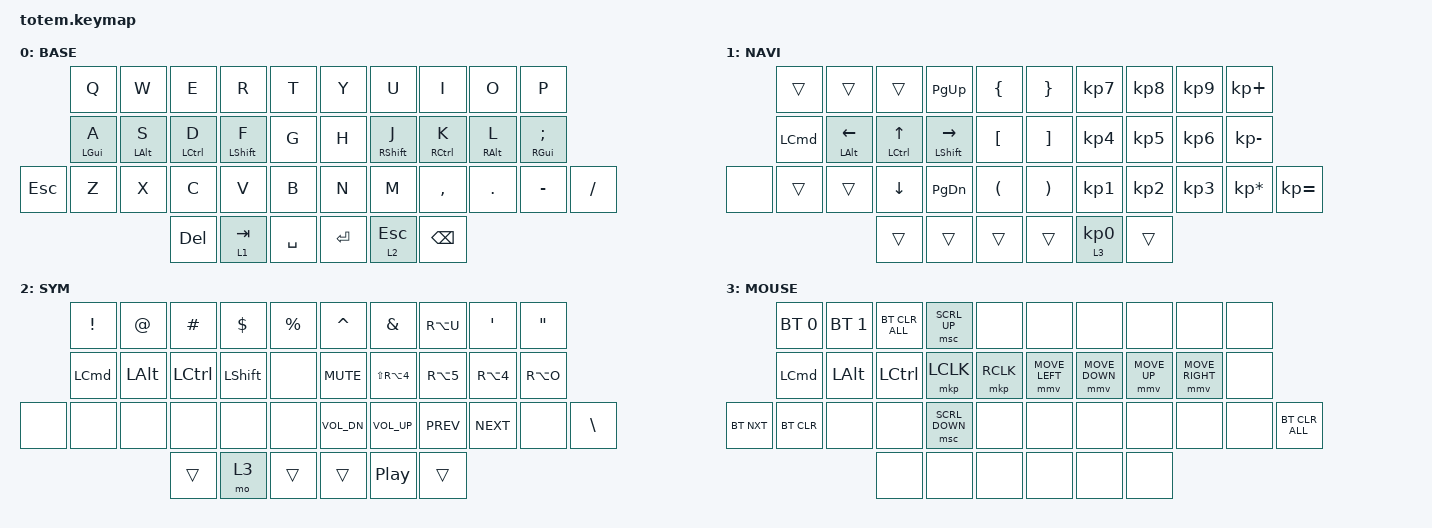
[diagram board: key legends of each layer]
//
//                                                        ▀▀▀▀▀     ▀▀▀▀▀          ▀▀█▀▀
//                                                        ▄▀▀▀▄  ▄  ▄▀▀▀▄  ▄  ▄▀▀▀▄  █  ▄▀▀▀▄
//                                                        █   █  █  █   █  █  █   █  █  █   █
//                                                         ▀▀▀   █   ▀▀▀   █   ▀▀▀   ▀   ▀▀▀
//                                                               █      ▄▄▄█▄▄▄    █   █  
//                                                               ▀      █  █  █     █▄█
//                                                             ▀▀▀▀▀    █  █  █      ▀
//                                                                      ▀  ▀  ▀
//
// ▄▄▄▄▄▄▄▄▄▄▄▄▄▄▄▄▄▄▄▄▄▄▄▄▄▄▄▄▄▄▄▄▄▄▄▄▄▄▄▄▄▄▄▄▄▄▄▄▄▄▄▄▄▄▄▄▄▄▄▄▄▄▄▄▄▄▄▄▄▄▄▄▄▄▄▄▄▄▄▄▄▄▄▄▄▄▄▄▄▄▄▄▄▄▄▄▄▄▄▄▄▄▄▄▄▄▄▄▄▄▄▄▄▄▄▄▄▄▄▄▄▄▄▄▄▄▄▄▄▄▄▄▄▄▄▄▄▄▄▄▄▄▄▄▄▄▄▄▄

#include <behaviors.dtsi>
#include <dt-bindings/zmk/bt.h>
#include <dt-bindings/zmk/keys.h>
#include <dt-bindings/zmk/pointing.h>

#define BASE 0
#define NAV  1
#define SYM  2
#define ADJ  3
#define TVP1 4
#define TVP2 5

&mt {
    quick-tap-ms = <100>;
    global-quick-tap;
    flavor = "tap-preferred";
    tapping-term-ms = <170>;
};

/ {
    combos { compatible = "zmk,combos"; };

    macros {
        gif: gif {
            label = "giphy";
            compatible = "zmk,behavior-macro";
            #binding-cells = <0>;
            bindings =
                <&macro_press>,
                <&kp LSHFT>,
                <&macro_tap>,
                <&kp N2>,
                <&macro_release>,
                <&kp LSHFT>,
                <&macro_tap>,
                <&kp G &kp I &kp F>;
        };
    };

    keymap {
        compatible = "zmk,keymap";

        // ▄▄▄▄▄▄▄▄▄▄▄▄▄▄▄▄▄▄▄▄▄▄▄▄▄▄▄▄▄▄▄▄▄▄▄▄▄▄▄▄▄▄▄▄▄▄▄▄▄▄▄▄▄▄▄▄▄▄▄▄▄▄▄▄▄▄▄▄▄▄▄▄▄▄▄▄▄▄▄▄▄▄▄▄▄▄▄▄▄▄▄▄▄▄▄▄▄▄▄▄▄▄▄▄▄▄▄▄▄▄▄▄▄▄▄▄▄▄▄▄▄▄▄▄▄▄▄▄▄▄▄▄▄▄▄▄▄▄▄▄▄▄▄▄▄▄▄▄▄

        base_layer {
            // ┏━━━━━━━━━━━━━━━━━━━━━━━━━━━━━━━━━━━━━━━┓

            label = "BASE";

            // ┗━━━━━━━━━━━━━━━━━━━━━━━━━━━━━━━━━━━━━━━┛
            //             ┏━━━━━━━━━━━┳━━━━━━━━━━━┳━━━━━━━━━━━┳━━━━━━━━━━━┳━━━━━━━━━━━┓   ┏━━━━━━━━━━━┳━━━━━━━━━━━┳━━━━━━━━━━━┳━━━━━━━━━━━┳━━━━━━━━━━━┓
            //             ┃     Q     ┃     W     ┃     F     ┃     P     ┃     G     ┃   ┃     J     ┃     L     ┃     U     ┃     Y     ┃     ;     ┃
            //             ┣━━━━━━━━━━━╋━━━━━━━━━━━╋━━━━━━━━━━━╋━━━━━━━━━━━╋━━━━━━━━━━━┫   ┣━━━━━━━━━━━╋━━━━━━━━━━━╋━━━━━━━━━━━╋━━━━━━━━━━━╋━━━━━━━━━━━┫
            //             ┃     A     ┃     R     ┃     S     ┃     T     ┃     D     ┃   ┃     H     ┃     N     ┃     E     ┃     I     ┃     O     ┃
            // ┏━━━━━━━━━━━╋━━━━━━━━━━━╋━━━━━━━━━━━╋━━━━━━━━━━━╋━━━━━━━━━━━╋━━━━━━━━━━━┫   ┣━━━━━━━━━━━╋━━━━━━━━━━━╋━━━━━━━━━━━╋━━━━━━━━━━━╋━━━━━━━━━━━╋━━━━━━━━━━━┓
            // ┃     Q     ┃     Z     ┃     X     ┃     C     ┃     V     ┃     B     ┃   ┃     K     ┃     M     ┃     ,     ┃     .     ┃     /     ┃     \     ┃
            // ┗━━━━━━━━━━━┻━━━━━━━━━━━┻━━━━━━━━━━━╋━━━━━━━━━━━╋━━━━━━━━━━━╋━━━━━━━━━━━┫   ┣━━━━━━━━━━━╋━━━━━━━━━━━╋━━━━━━━━━━━╋━━━━━━━━━━━┻━━━━━━━━━━━┻━━━━━━━━━━━┛
            //                                     ┃    DEL    ┃    TAB    ┃    SPC    ┃   ┃   ENTER   ┃           ┃   BSPC    ┃
            //                                     ┗━━━━━━━━━━━┻━━━━━━━━━━━┻━━━━━━━━━━━┛   ┗━━━━━━━━━━━┻━━━━━━━━━━━┻━━━━━━━━━━━┛

            bindings = <
         &kp Q       &kp W       &kp E        &kp R        &kp T        &kp Y    &kp U        &kp I        &kp O       &kp P
         &mt LGUI A  &mt LALT S  &mt LCTRL D  &mt LSHFT F  &kp G        &kp H    &mt RSHFT J  &mt RCTRL K  &mt RALT L  &mt RGUI SEMI
&kp ESC  &kp Z       &kp X       &kp C        &kp V        &kp B        &kp N    &kp M        &kp COMMA    &kp DOT     &kp MINUS      &kp SLASH
                                 &kp DEL      &lt 1 TAB    &kp SPACE    &kp RET  &lt 2 ESC    &kp BSPC
            >;
        };

        // ▄▄▄▄▄▄▄▄▄▄▄▄▄▄▄▄▄▄▄▄▄▄▄▄▄▄▄▄▄▄▄▄▄▄▄▄▄▄▄▄▄▄▄▄▄▄▄▄▄▄▄▄▄▄▄▄▄▄▄▄▄▄▄▄▄▄▄▄▄▄▄▄▄▄▄▄▄▄▄▄▄▄▄▄▄▄▄▄▄▄▄▄▄▄▄▄▄▄▄▄▄▄▄▄▄▄▄▄▄▄▄▄▄▄▄▄▄▄▄▄▄▄▄▄▄▄▄▄▄▄▄▄▄▄▄▄▄▄▄▄▄▄▄▄▄▄▄▄▄

        nav_layer {
            // ┏━━━━━━━━━━━━━━━━━━━━━━━━━━━━━━━━━━━━━━━┓

            label = "NAVI";

            // ┗━━━━━━━━━━━━━━━━━━━━━━━━━━━━━━━━━━━━━━━┛
            //             ┏━━━━━━━━━━━┳━━━━━━━━━━━┳━━━━━━━━━━━┳━━━━━━━━━━━┳━━━━━━━━━━━┓   ┏━━━━━━━━━━━┳━━━━━━━━━━━┳━━━━━━━━━━━┳━━━━━━━━━━━┳━━━━━━━━━━━┓
            //             ┃           ┃           ┃     UP    ┃           ┃     {     ┃   ┃     }     ┃     7     ┃     8     ┃     9     ┃     +     ┃
            //             ┣━━━━━━━━━━━╋━━━━━━━━━━━╋━━━━━━━━━━━╋━━━━━━━━━━━╋━━━━━━━━━━━┫   ┣━━━━━━━━━━━╋━━━━━━━━━━━╋━━━━━━━━━━━╋━━━━━━━━━━━╋━━━━━━━━━━━┫
            //             ┃   SHIFT   ┃   LEFT    ┃    DOWN   ┃   RIGHT   ┃     [     ┃   ┃     ]     ┃     4     ┃     5     ┃     6     ┃     -     ┃
            // ┏━━━━━━━━━━━╋━━━━━━━━━━━╋━━━━━━━━━━━╋━━━━━━━━━━━╋━━━━━━━━━━━╋━━━━━━━━━━━┫   ┣━━━━━━━━━━━╋━━━━━━━━━━━╋━━━━━━━━━━━╋━━━━━━━━━━━╋━━━━━━━━━━━╋━━━━━━━━━━━┓
            // ┃           ┃           ┃   P UP    ┃  C LOCK   ┃  P DOWN   ┃     (     ┃   ┃     )     ┃     1     ┃     2     ┃     3     ┃     *     ┃           ┃
            // ┗━━━━━━━━━━━┻━━━━━━━━━━━┻━━━━━━━━━━━╋━━━━━━━━━━━╋━━━━━━━━━━━╋━━━━━━━━━━━┫   ┣━━━━━━━━━━━╋━━━━━━━━━━━╋━━━━━━━━━━━╋━━━━━━━━━━━┻━━━━━━━━━━━┻━━━━━━━━━━━┛
            //                                     ┃           ┃    TAB    ┃    SPC    ┃   ┃    DEL    ┃     0     ┃           ┃
            //                                     ┗━━━━━━━━━━━┻━━━━━━━━━━━┻━━━━━━━━━━━┛   ┗━━━━━━━━━━━┻━━━━━━━━━━━┻━━━━━━━━━━━┛

            bindings = <
       &trans            &trans             &trans                     &kp PG_UP                   &kp LBRC    &kp RBRC  &kp KP_N7    &kp KP_N8  &kp KP_N9  &kp KP_PLUS
       &kp LEFT_COMMAND  &mt LEFT_ALT LEFT  &mt LEFT_CONTROL UP_ARROW  &mt LEFT_SHIFT RIGHT_ARROW  &kp LBKT    &kp RBKT  &kp KP_N4    &kp KP_N5  &kp KP_N6  &kp KP_MINUS
&none  &trans            &trans             &kp DOWN                   &kp PG_DN                   &kp LPAR    &kp RPAR  &kp KP_N1    &kp KP_N2  &kp KP_N3  &kp KP_MULTIPLY  &kp KP_EQUAL
                                            &trans                     &trans                      &trans      &trans    &lt 3 KP_N0  &trans
            >;
        };

        // ▄▄▄▄▄▄▄▄▄▄▄▄▄▄▄▄▄▄▄▄▄▄▄▄▄▄▄▄▄▄▄▄▄▄▄▄▄▄▄▄▄▄▄▄▄▄▄▄▄▄▄▄▄▄▄▄▄▄▄▄▄▄▄▄▄▄▄▄▄▄▄▄▄▄▄▄▄▄▄▄▄▄▄▄▄▄▄▄▄▄▄▄▄▄▄▄▄▄▄▄▄▄▄▄▄▄▄▄▄▄▄▄▄▄▄▄▄▄▄▄▄▄▄▄▄▄▄▄▄▄▄▄▄▄▄▄▄▄▄▄▄▄▄▄▄▄▄▄▄

        sim_layer {
            // ┏━━━━━━━━━━━━━━━━━━━━━━━━━━━━━━━━━━━━━━━┓

            label = "SYM";

            // ┗━━━━━━━━━━━━━━━━━━━━━━━━━━━━━━━━━━━━━━━┛
            //             ┏━━━━━━━━━━━┳━━━━━━━━━━━┳━━━━━━━━━━━┳━━━━━━━━━━━┳━━━━━━━━━━━┓   ┏━━━━━━━━━━━┳━━━━━━━━━━━┳━━━━━━━━━━━┳━━━━━━━━━━━┳━━━━━━━━━━━┓
            //             ┃     !     ┃     @     ┃     #     ┃     $     ┃     %     ┃   ┃     ˆ     ┃     &     ┃     Ü     ┃     '     ┃     "     ┃
            //             ┣━━━━━━━━━━━╋━━━━━━━━━━━╋━━━━━━━━━━━╋━━━━━━━━━━━╋━━━━━━━━━━━┫   ┣━━━━━━━━━━━╋━━━━━━━━━━━╋━━━━━━━━━━━╋━━━━━━━━━━━╋━━━━━━━━━━━┫
            //             ┃     Ä     ┃           ┃    SZ     ┃           ┃           ┃   ┃   MUTE    ┃   YEN     ┃   EURO    ┃  POUND    ┃     Ö     ┃
            // ┏━━━━━━━━━━━╋━━━━━━━━━━━╋━━━━━━━━━━━╋━━━━━━━━━━━╋━━━━━━━━━━━╋━━━━━━━━━━━┫   ┣━━━━━━━━━━━╋━━━━━━━━━━━╋━━━━━━━━━━━╋━━━━━━━━━━━╋━━━━━━━━━━━╋━━━━━━━━━━━┓
            // ┃           ┃  EMAIL1   ┃  EMAIL2   ┃           ┃           ┃           ┃   ┃   VOL-    ┃   VOL+    ┃   LAST    ┃   NEXT    ┃     \     ┃           ┃
            // ┗━━━━━━━━━━━┻━━━━━━━━━━━┻━━━━━━━━━━━╋━━━━━━━━━━━╋━━━━━━━━━━━╋━━━━━━━━━━━┫   ┣━━━━━━━━━━━╋━━━━━━━━━━━╋━━━━━━━━━━━╋━━━━━━━━━━━┻━━━━━━━━━━━┻━━━━━━━━━━━┛
            //                                     ┃           ┃    GIF    ┃    ADJ    ┃   ┃           ┃           ┃           ┃
            //                                     ┗━━━━━━━━━━━┻━━━━━━━━━━━┻━━━━━━━━━━━┛   ┗━━━━━━━━━━━┻━━━━━━━━━━━┻━━━━━━━━━━━┛

            bindings = <
       &kp EXCL          &kp AT        &kp HASH          &kp DLLR        &kp PRCNT    &kp CARET     &kp AMPS        &kp RA(U)   &kp SQT     &kp DQT
       &kp LEFT_COMMAND  &kp LEFT_ALT  &kp LEFT_CONTROL  &kp LEFT_SHIFT  &none        &kp C_MUTE    &kp LS(RA(N4))  &kp RA(N5)  &kp RA(N4)  &kp RA(O)
&none  &none             &none         &none             &none           &none        &kp C_VOL_DN  &kp C_VOL_UP    &kp C_PREV  &kp C_NEXT  &none      &kp BACKSLASH
                                       &trans            &mo 3           &trans       &trans        &kp C_PP        &trans
            >;
        };

        // ▄▄▄▄▄▄▄▄▄▄▄▄▄▄▄▄▄▄▄▄▄▄▄▄▄▄▄▄▄▄▄▄▄▄▄▄▄▄▄▄▄▄▄▄▄▄▄▄▄▄▄▄▄▄▄▄▄▄▄▄▄▄▄▄▄▄▄▄▄▄▄▄▄▄▄▄▄▄▄▄▄▄▄▄▄▄▄▄▄▄▄▄▄▄▄▄▄▄▄▄▄▄▄▄▄▄▄▄▄▄▄▄▄▄▄▄▄▄▄▄▄▄▄▄▄▄▄▄▄▄▄▄▄▄▄▄▄▄▄▄▄▄▄▄▄▄▄▄▄

        mouse_layer {
            // ┏━━━━━━━━━━━━━━━━━━━━━━━━━━━━━━━━━━━━━━━┓

            label = "MOUSE";

            // ┗━━━━━━━━━━━━━━━━━━━━━━━━━━━━━━━━━━━━━━━┛
            //             ┏━━━━━━━━━━━┳━━━━━━━━━━━┳━━━━━━━━━━━┳━━━━━━━━━━━┳━━━━━━━━━━━┓   ┏━━━━━━━━━━━┳━━━━━━━━━━━┳━━━━━━━━━━━┳━━━━━━━━━━━┳━━━━━━━━━━━┓
            //             ┃   RESET   ┃ BT CLEAR  ┃  OUT TOG  ┃           ┃           ┃   ┃           ┃    F7     ┃    F8     ┃    F9     ┃    F12    ┃
            //             ┣━━━━━━━━━━━╋━━━━━━━━━━━╋━━━━━━━━━━━╋━━━━━━━━━━━╋━━━━━━━━━━━┫   ┣━━━━━━━━━━━╋━━━━━━━━━━━╋━━━━━━━━━━━╋━━━━━━━━━━━╋━━━━━━━━━━━┫
            //             ┃ BOOTLOAD  ┃ BT NEXT   ┃           ┃           ┃           ┃   ┃           ┃    F4     ┃    F5     ┃    F6     ┃    F11    ┃
            // ┏━━━━━━━━━━━╋━━━━━━━━━━━╋━━━━━━━━━━━╋━━━━━━━━━━━╋━━━━━━━━━━━╋━━━━━━━━━━━┫   ┣━━━━━━━━━━━╋━━━━━━━━━━━╋━━━━━━━━━━━╋━━━━━━━━━━━╋━━━━━━━━━━━╋━━━━━━━━━━━┓
            // ┃           ┃           ┃ BT PREV   ┃           ┃           ┃           ┃   ┃           ┃    F1     ┃    F2     ┃    F3     ┃    F10    ┃           ┃
            // ┗━━━━━━━━━━━┻━━━━━━━━━━━┻━━━━━━━━━━━╋━━━━━━━━━━━╋━━━━━━━━━━━╋━━━━━━━━━━━┫   ┣━━━━━━━━━━━╋━━━━━━━━━━━╋━━━━━━━━━━━╋━━━━━━━━━━━┻━━━━━━━━━━━┻━━━━━━━━━━━┛
            //                                     ┃           ┃           ┃           ┃   ┃           ┃           ┃           ┃
            //                                     ┗━━━━━━━━━━━┻━━━━━━━━━━━┻━━━━━━━━━━━┛   ┗━━━━━━━━━━━┻━━━━━━━━━━━┻━━━━━━━━━━━┛

            bindings = <
            &bt BT_SEL 0  &bt BT_SEL 1  &bt BT_CLR_ALL    &msc SCRL_UP    &none        &none           &none           &none         &none            &none
            &kp LCMD      &kp LEFT_ALT  &kp LEFT_CONTROL  &mkp LCLK       &mkp RCLK    &mmv MOVE_LEFT  &mmv MOVE_DOWN  &mmv MOVE_UP  &mmv MOVE_RIGHT  &none
&bt BT_NXT  &bt BT_CLR    &none         &none             &msc SCRL_DOWN  &none        &none           &none           &none         &none            &none  &bt BT_CLR_ALL
                                        &none             &none           &none        &none           &none           &none
            >;
        };

        // ▄▄▄▄▄▄▄▄▄▄▄▄▄▄▄▄▄▄▄▄▄▄▄▄▄▄▄▄▄▄▄▄▄▄▄▄▄▄▄▄▄▄▄▄▄▄▄▄▄▄▄▄▄▄▄▄▄▄▄▄▄▄▄▄▄▄▄▄▄▄▄▄▄▄▄▄▄▄▄▄▄▄▄▄▄▄▄▄▄▄▄▄▄▄▄▄▄▄▄▄▄▄▄▄▄▄▄▄▄▄▄▄▄▄▄▄▄▄▄▄▄▄▄▄▄▄▄▄▄▄▄▄▄▄▄▄▄▄▄▄▄▄▄▄▄▄▄▄▄
        // ▄▄▄▄▄▄▄▄▄▄▄▄▄▄▄▄▄▄▄▄▄▄▄▄▄▄▄▄▄▄▄▄▄▄▄▄▄▄▄▄▄▄▄▄▄▄▄▄▄▄▄▄▄▄▄▄▄▄▄▄▄▄▄▄▄▄▄▄▄▄▄▄▄▄▄▄▄▄▄▄▄▄▄▄▄▄▄▄▄▄▄▄▄▄▄▄▄▄▄▄▄▄▄▄▄▄▄▄▄▄▄▄▄▄▄▄▄▄▄▄▄▄▄▄▄▄▄▄▄▄▄▄▄▄▄▄▄▄▄▄▄▄▄▄▄▄▄▄▄
    };
};
